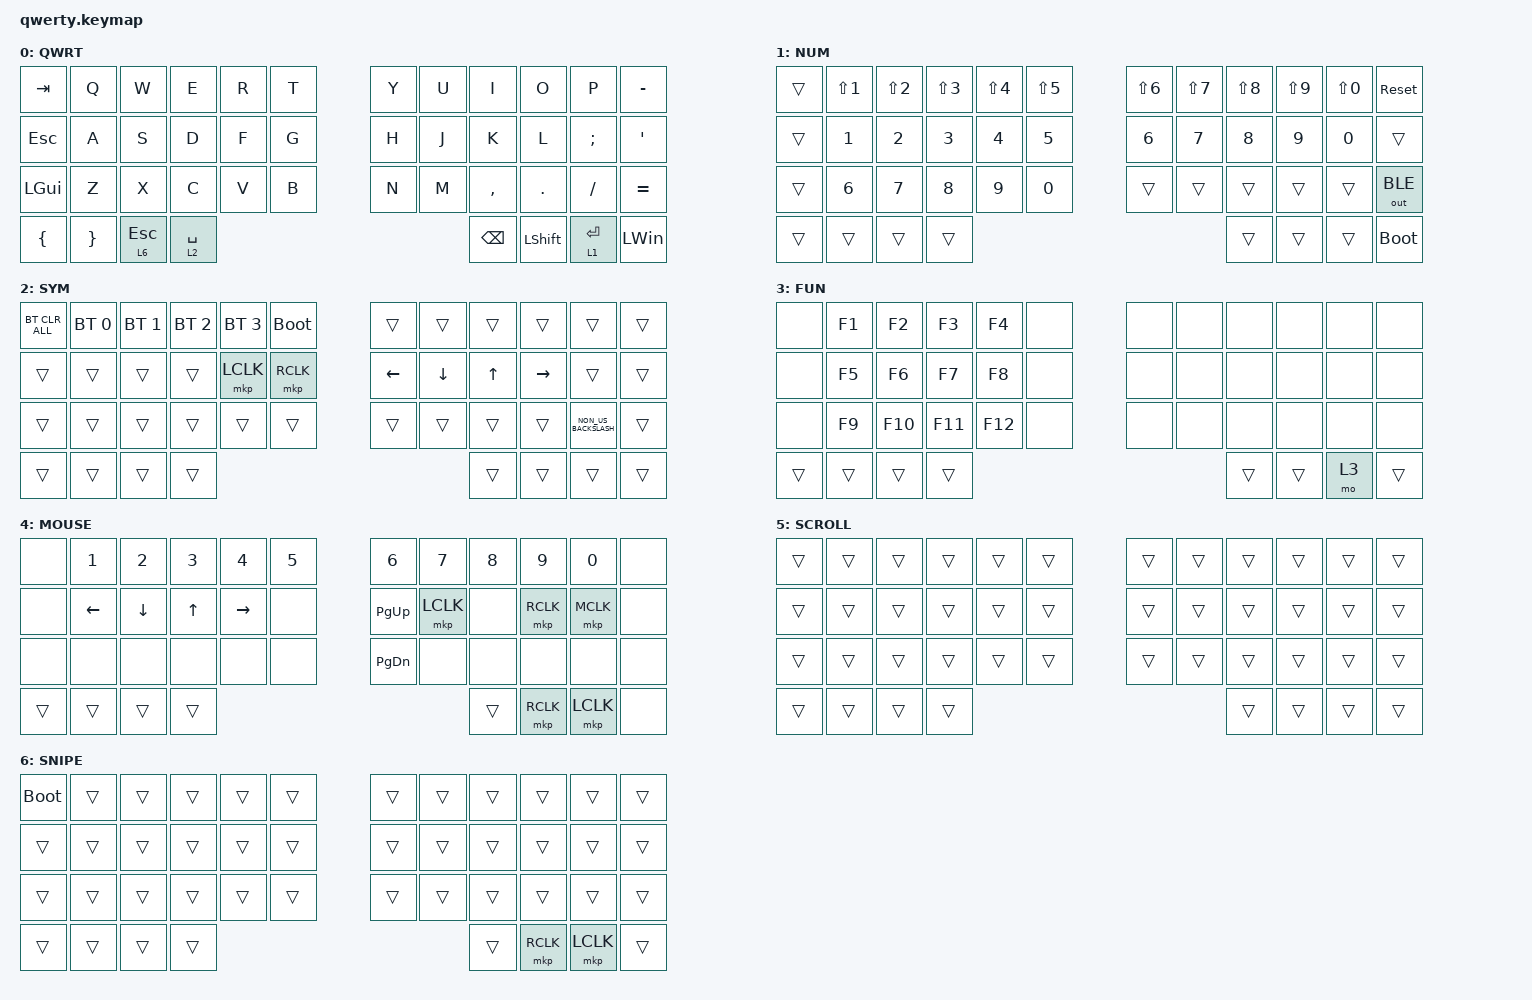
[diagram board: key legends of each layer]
/* upstream bindings and behaviors */
#include <behaviors.dtsi>
#include <dt-bindings/zmk/bt.h>
#include <dt-bindings/zmk/keys.h>
#include <dt-bindings/zmk/mouse.h>
#include <dt-bindings/zmk/outputs.h>
#include <behaviors/mouse_keys.dtsi>
#include <dt-bindings/zmk/ext_power.h>

/* local overlays */
#include "macros.dtsi"
#include "behaviors.dtsi"
#include "combos.dtsi"

/ {
/* --- KEYMAP CONFIG --- */
// ╭──────┬──────┬──────┬──────┬──────┬──────╮  ╭──────┬──────┬──────┬──────┬──────┬──────╮
//    00     01     02     03    04      05        06     07     08     09     10     11
// ├──────┼──────┼──────┼──────┼──────┼──────┤  ├──────┼──────┼──────┼──────┼──────┼──────┤
//    12     13     14     15    16      17        18     19     20     21     22     23
// ├──────┼──────┼──────┼──────┼──────┼──────┤  ├──────┼──────┼──────┼──────┼──────┼──────┤
//    24     25     26     27    28      29        30     31     32     33     34     35
// ╰──────┴──────┴──────┼──────┼──────┼──────┤  ├──────┼──────┼──────┴──────┴──────┴──────╯
//                         36     37     38        39     40
//                      ╰──────┴──────┴──────╯  ╰──────┴──────╯
// #define BASE    0
// #define NUM     1
// #define NAV     2
// #define SYM     3
// #define GAME    4
// #define EXTRAS  5
// #define SLOW    6
// #define SCROLL  7

     keymap {
        compatible = "zmk,keymap";

        default_layer {
            label = "QWRT";
            bindings = <
&kp TAB         &kp Q            &kp W         &kp E        &kp R     &kp T                      &kp Y         &kp U  &kp I      &kp O    &kp P      &kp MINUS
&kp ESCAPE      &kp A            &kp S         &kp D        &kp F     &kp G                      &kp H         &kp J  &kp K      &kp L    &kp SEMI   &kp SQT
&kp LEFT_GUI    &kp Z            &kp X         &kp C        &kp V     &kp B                      &kp N         &kp M  &kp COMMA  &kp DOT  &kp SLASH  &kp EQUAL
&kp LEFT_BRACE  &kp RIGHT_BRACE  &lt 6 ESCAPE  &lt 2 SPACE  &kp BSPC             &kp LEFT_SHIFT  &lt 1 RETURN                                        &kp LEFT_WIN
            >;
        };

        number_layer {
            label = "NUM";
            bindings = <
&trans  &kp LS(NUMBER_1)  &kp LS(NUMBER_2)  &kp LS(NUMBER_3)  &kp LS(NUMBER_4)  &kp LS(NUMBER_5)              &kp LS(NUMBER_6)  &kp LS(NUMBER_7)  &kp LS(NUMBER_8)  &kp LS(NUMBER_9)  &kp LS(NUMBER_0)  &sys_reset
&trans  &kp N1            &kp N2            &kp N3            &kp N4            &kp N5                        &kp N6            &kp N7            &kp N8            &kp N9            &kp N0            &trans
&trans  &kp N6            &kp N7            &kp N8            &kp N9            &kp N0                        &trans            &trans            &trans            &trans            &trans            &out OUT_BLE
&trans  &trans            &trans            &trans            &trans                                  &trans  &trans                                                                                    &bootloader
            >;
        };

        BT {
            label = "SYM";
            bindings = <
&bt BT_CLR_ALL  &bt BT_SEL 0  &bt BT_SEL 1  &bt BT_SEL 2  &bt BT_SEL 3  &bootloader              &trans          &trans          &trans        &trans     &trans                &trans
&trans          &trans        &trans        &trans        &mkp LCLK     &mkp RCLK                &kp LEFT_ARROW  &kp DOWN_ARROW  &kp UP_ARROW  &kp RIGHT  &trans                &trans
&trans          &trans        &trans        &trans        &trans        &trans                   &trans          &trans          &trans        &trans     &kp NON_US_BACKSLASH  &trans
&trans          &trans        &trans        &trans        &trans                         &trans  &trans                                                                         &trans
            >;
        };

        function_layer {
            label = "FUN";
            bindings = <
&none   &kp F1  &kp F2   &kp F3   &kp F4   &none              &none  &none  &none  &none  &none  &none
&none   &kp F5  &kp F6   &kp F7   &kp F8   &none              &none  &none  &none  &none  &none  &none
&none   &kp F9  &kp F10  &kp F11  &kp F12  &none              &none  &none  &none  &none  &none  &none
&trans  &trans  &trans   &trans   &trans              &trans  &mo 3                              &trans
            >;
        };

        mouse_layer {
            label = "MOUSE";
            bindings = <
&none   &kp N1          &kp N2          &kp N3        &kp N4     &kp N5                 &kp N6         &kp N7     &kp N8  &kp N9     &kp N0     &none
&none   &kp LEFT_ARROW  &kp DOWN_ARROW  &kp UP_ARROW  &kp RIGHT  &none                  &kp PAGE_UP    &mkp LCLK  &none   &mkp RCLK  &mkp MCLK  &none
&none   &none           &none           &none         &none      &none                  &kp PAGE_DOWN  &none      &none   &none      &none      &none
&trans  &trans          &trans          &trans        &trans                 &mkp RCLK  &mkp LCLK                                               &none
            >;
        };

        scroll_layer {
            label = "SCROLL";
            bindings = <
&trans  &trans  &trans  &trans  &trans  &trans              &trans  &trans  &trans  &trans  &trans  &trans
&trans  &trans  &trans  &trans  &trans  &trans              &trans  &trans  &trans  &trans  &trans  &trans
&trans  &trans  &trans  &trans  &trans  &trans              &trans  &trans  &trans  &trans  &trans  &trans
&trans  &trans  &trans  &trans  &trans              &trans  &trans                                  &trans
            >;
        };

        snipe_layer {
            label = "SNIPE";
            bindings = <
&bootloader  &trans  &trans  &trans  &trans  &trans                 &trans     &trans  &trans  &trans  &trans  &trans
&trans       &trans  &trans  &trans  &trans  &trans                 &trans     &trans  &trans  &trans  &trans  &trans
&trans       &trans  &trans  &trans  &trans  &trans                 &trans     &trans  &trans  &trans  &trans  &trans
&trans       &trans  &trans  &trans  &trans              &mkp RCLK  &mkp LCLK                                  &trans
            >;
        };
    };
};
